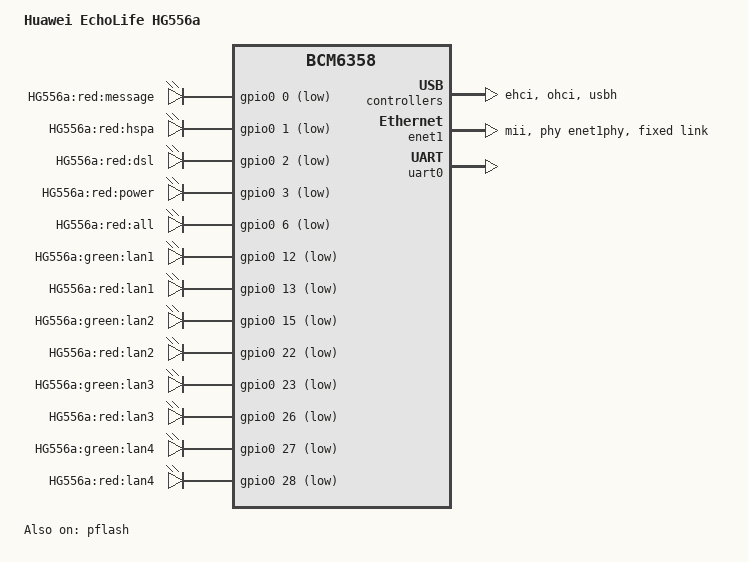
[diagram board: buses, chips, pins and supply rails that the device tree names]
// SPDX-License-Identifier: GPL-2.0+
/*
 * Copyright (C) 2017 Álvaro Fernández Rojas <noltari@gmail.com>
 */

/dts-v1/;

#include "brcm,bcm6358.dtsi"

/ {
	model = "Huawei EchoLife HG556a";
	compatible = "huawei,hg556a", "brcm,bcm6358";

	aliases {
		serial0 = &uart0;
	};

	chosen {
		stdout-path = "serial0:115200n8";
	};

	gpio-leds {
		compatible = "gpio-leds";

		message_red {
			label = "HG556a:red:message";
			gpios = <&gpio0 0 GPIO_ACTIVE_LOW>;
		};

		hspa_red {
			label = "HG556a:red:hspa";
			gpios = <&gpio0 1 GPIO_ACTIVE_LOW>;
		};

		dsl_red {
			label = "HG556a:red:dsl";
			gpios = <&gpio0 2 GPIO_ACTIVE_LOW>;
		};

		power_red {
			label = "HG556a:red:power";
			gpios = <&gpio0 3 GPIO_ACTIVE_LOW>;
		};

		all_red {
			label = "HG556a:red:all";
			gpios = <&gpio0 6 GPIO_ACTIVE_LOW>;
		};

		lan1_green {
			label = "HG556a:green:lan1";
			gpios = <&gpio0 12 GPIO_ACTIVE_LOW>;
		};

		lan1_red {
			label = "HG556a:red:lan1";
			gpios = <&gpio0 13 GPIO_ACTIVE_LOW>;
		};

		lan2_green {
			label = "HG556a:green:lan2";
			gpios = <&gpio0 15 GPIO_ACTIVE_LOW>;
		};

		lan2_red {
			label = "HG556a:red:lan2";
			gpios = <&gpio0 22 GPIO_ACTIVE_LOW>;
		};

		lan3_green {
			label = "HG556a:green:lan3";
			gpios = <&gpio0 23 GPIO_ACTIVE_LOW>;
		};

		lan3_red {
			label = "HG556a:red:lan3";
			gpios = <&gpio0 26 GPIO_ACTIVE_LOW>;
		};

		lan4_green {
			label = "HG556a:green:lan4";
			gpios = <&gpio0 27 GPIO_ACTIVE_LOW>;
		};

		lan4_red {
			label = "HG556a:red:lan4";
			gpios = <&gpio0 28 GPIO_ACTIVE_LOW>;
		};
	};
};

&ehci {
	status = "okay";
};

&enet1 {
	status = "okay";
	phy = <&enet1phy>;
	phy-mode = "mii";

	enet1phy: fixed-link {
		reg = <1>;
		speed = <100>;
		full-duplex;
	};
};

&gpio0 {
	status = "okay";
};

&ohci {
	status = "okay";
};

&pflash {
	status = "okay";
};

&uart0 {
	u-boot,dm-pre-reloc;
	status = "okay";
};

&usbh {
	status = "okay";
};
